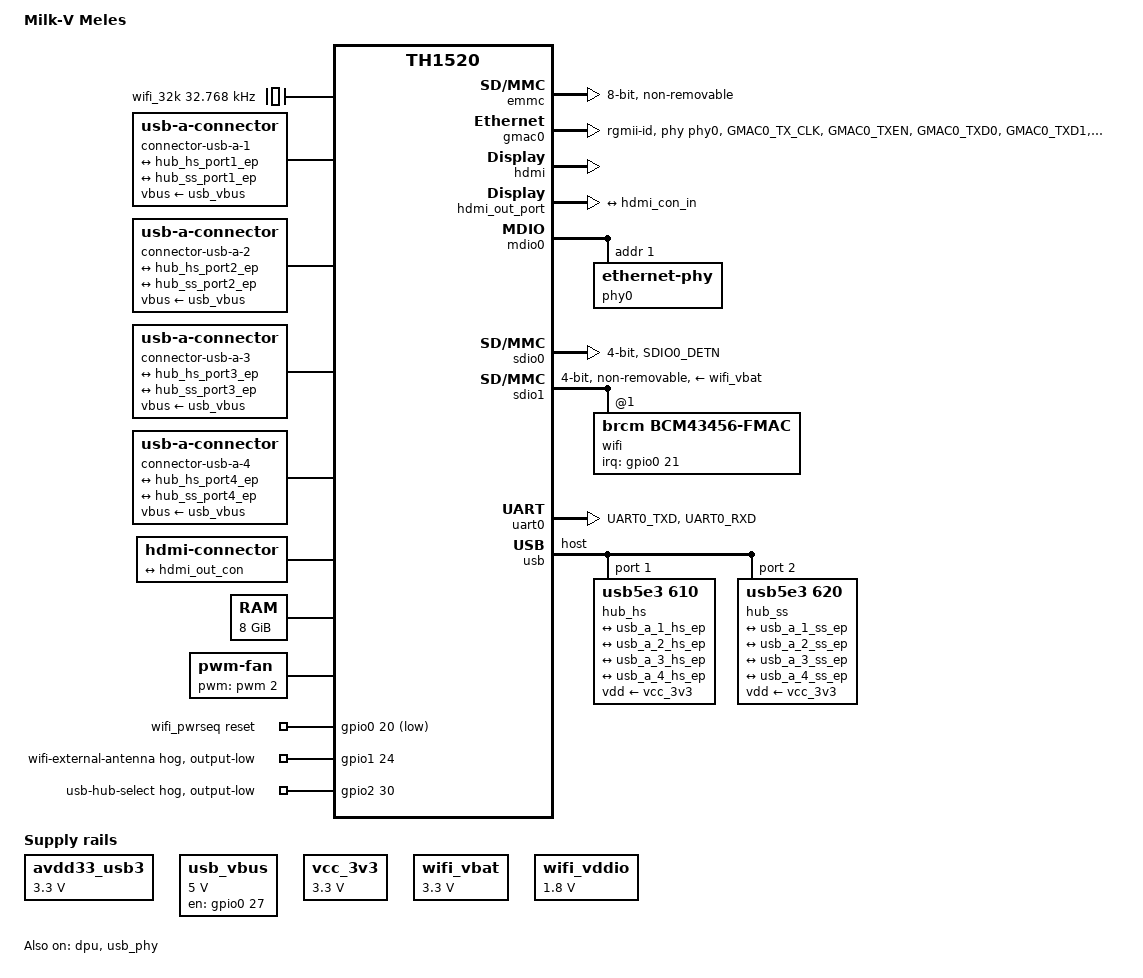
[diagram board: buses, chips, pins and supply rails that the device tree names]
// SPDX-License-Identifier: (GPL-2.0 OR MIT)
/*
 * Copyright (C) 2021-2022 Alibaba Group Holding Limited.
 * Copyright (C) 2026 Han Gao <gaohan@iscas.ac.cn>
 */

/dts-v1/;

#include "th1520.dtsi"
#include <dt-bindings/gpio/gpio.h>

/ {
	model = "Milk-V Meles";
	compatible = "milkv,meles", "thead,th1520";

	aliases {
		ethernet0 = &gmac0;
		gpio0 = &gpio0;
		gpio1 = &gpio1;
		gpio2 = &gpio2;
		gpio3 = &gpio3;
		gpio4 = &gpio4;
		gpio5 = &aogpio;
		mmc0 = &emmc;
		mmc1 = &sdio0;
		mmc2 = &sdio1;
		serial0 = &uart0;
	};

	chosen {
		stdout-path = "serial0:115200n8";
	};

	wifi_32k: clock-wifi-32k {
		compatible = "fixed-clock";
		#clock-cells = <0>;
		clock-frequency = <32768>;
		/* The module LPO input is supplied by PMIC_32K_OUT. */
	};

	connector-usb-a-1 {
		compatible = "usb-a-connector";
		vbus-supply = <&usb_vbus>;

		ports {
			#address-cells = <1>;
			#size-cells = <0>;

			port@0 {
				reg = <0>;

				usb_a_1_hs_ep: endpoint {
					remote-endpoint = <&hub_hs_port1_ep>;
				};
			};

			port@1 {
				reg = <1>;

				usb_a_1_ss_ep: endpoint {
					remote-endpoint = <&hub_ss_port1_ep>;
				};
			};
		};
	};

	connector-usb-a-2 {
		compatible = "usb-a-connector";
		vbus-supply = <&usb_vbus>;

		ports {
			#address-cells = <1>;
			#size-cells = <0>;

			port@0 {
				reg = <0>;

				usb_a_2_hs_ep: endpoint {
					remote-endpoint = <&hub_hs_port2_ep>;
				};
			};

			port@1 {
				reg = <1>;

				usb_a_2_ss_ep: endpoint {
					remote-endpoint = <&hub_ss_port2_ep>;
				};
			};
		};
	};

	connector-usb-a-3 {
		compatible = "usb-a-connector";
		vbus-supply = <&usb_vbus>;

		ports {
			#address-cells = <1>;
			#size-cells = <0>;

			port@0 {
				reg = <0>;

				usb_a_3_hs_ep: endpoint {
					remote-endpoint = <&hub_hs_port3_ep>;
				};
			};

			port@1 {
				reg = <1>;

				usb_a_3_ss_ep: endpoint {
					remote-endpoint = <&hub_ss_port3_ep>;
				};
			};
		};
	};

	connector-usb-a-4 {
		compatible = "usb-a-connector";
		vbus-supply = <&usb_vbus>;

		ports {
			#address-cells = <1>;
			#size-cells = <0>;

			port@0 {
				reg = <0>;

				usb_a_4_hs_ep: endpoint {
					remote-endpoint = <&hub_hs_port4_ep>;
				};
			};

			port@1 {
				reg = <1>;

				usb_a_4_ss_ep: endpoint {
					remote-endpoint = <&hub_ss_port4_ep>;
				};
			};
		};
	};

	hdmi-connector {
		compatible = "hdmi-connector";
		type = "a";

		port {
			hdmi_con_in: endpoint {
				remote-endpoint = <&hdmi_out_con>;
			};
		};
	};

	memory@0 {
		device_type = "memory";
		reg = <0x0 0x0 0x2 0x0>;
	};

	fan: pwm-fan {
		compatible = "pwm-fan";
		pinctrl-names = "default";
		pinctrl-0 = <&fan_pins>;
		pwms = <&pwm 2 10000000 0>;
		cooling-levels = <0 64 192 255>;
		#cooling-cells = <2>;
	};

	/* AVDD33_USB3 is supplied by the always-on DA9063 LDO9 rail. */
	avdd33_usb3: regulator-avdd33-usb3 {
		compatible = "regulator-fixed";
		regulator-name = "AVDD33_USB3";
		regulator-min-microvolt = <3300000>;
		regulator-max-microvolt = <3300000>;
		regulator-always-on;
	};

	usb_vbus: regulator-usb-vbus {
		/* U26 switches connector VBUS, not the GL3523 core supplies. */
		compatible = "regulator-fixed";
		regulator-name = "USB_VBUS";
		regulator-min-microvolt = <5000000>;
		regulator-max-microvolt = <5000000>;
		gpio = <&gpio0 27 GPIO_ACTIVE_HIGH>;
		enable-active-high;
		pinctrl-names = "default";
		pinctrl-0 = <&usb_vbus_pins>;
		/* Adopt the firmware's high enable level without a low pulse. */
		regulator-boot-on;
		regulator-always-on;
	};

	/* GL3523 core power; independent of the connector VBUS switch. */
	vcc_3v3: regulator-vcc-3v3 {
		compatible = "regulator-fixed";
		regulator-name = "VCC_3V3";
		regulator-min-microvolt = <3300000>;
		regulator-max-microvolt = <3300000>;
		regulator-boot-on;
		regulator-always-on;
	};

	wifi_vbat: regulator-wifi-vbat {
		compatible = "regulator-fixed";
		regulator-name = "WIFI_3V3";
		regulator-min-microvolt = <3300000>;
		regulator-max-microvolt = <3300000>;
		regulator-always-on;
	};

	wifi_vddio: regulator-wifi-vddio {
		compatible = "regulator-fixed";
		regulator-name = "WIFI_VDDIO";
		regulator-min-microvolt = <1800000>;
		regulator-max-microvolt = <1800000>;
		regulator-always-on;
	};

	wifi_pwrseq: wifi-pwrseq {
		compatible = "mmc-pwrseq-simple";
		pinctrl-names = "default";
		pinctrl-0 = <&wifi_enable_pins>;
		reset-gpios = <&gpio0 20 GPIO_ACTIVE_LOW>;
		post-power-on-delay-ms = <50>;
	};
};

/* Names follow the 40-pin header signal labels. */
&aogpio {
	gpio-line-names = "", "", "", "", "", "", "", "AOGPIO_7",
			  "AOGPIO_8", "", "AOGPIO_10", "AOGPIO_11";
};

&dpu {
	status = "okay";
};

&emmc {
	bus-width = <8>;
	max-frequency = <52000000>;
	cap-mmc-highspeed;
	mmc-ddr-1_8v;
	non-removable;
	no-sdio;
	no-sd;

	status = "okay";
};

&gmac0 {
	pinctrl-names = "default";
	pinctrl-0 = <&gmac0_pins>, <&mdio0_pins>;
	phy-handle = <&phy0>;
	phy-mode = "rgmii-id";

	status = "okay";
};

&gpio0 {
	gpio-line-names = "", "", "", "", "", "", "", "", "GPIO0_8",
			  "GPIO0_9", "GPIO0_10", "GPIO0_11", "", "", "",
			  "", "GPIO0_16", "GPIO0_17";
};

&gpio1 {
	/* GPIO1_24 low selects the external antenna through U39. */
	wifi-antenna-select-hog {
		gpio-hog;
		gpios = <24 GPIO_ACTIVE_HIGH>;
		output-low;
		line-name = "wifi-external-antenna";
	};
};

&gpio2 {
	gpio-line-names = "GPIO2_0", "GPIO2_1", "", "", "", "", "", "",
			  "", "", "", "GPIO2_11", "GPIO2_12", "",
			  "GPIO2_14", "GPIO2_15", "GPIO2_16", "GPIO2_17",
			  "", "", "", "", "GPIO2_22", "GPIO2_23",
			  "GPIO2_24", "GPIO2_25", "", "", "", "", "",
			  "GPIO2_31";

	/* Vendor wiring, verified on Meles V1.3: low selects the GL3523. */
	usb-hub-select-hog {
		gpio-hog;
		gpios = <30 GPIO_ACTIVE_HIGH>;
		output-low;
		line-name = "usb-hub-select";
	};
};

&gpio3 {
	gpio-line-names = "GPIO3_0", "GPIO3_1", "GPIO3_2", "GPIO3_3";
};

&hdmi {
	status = "okay";
};

&hdmi_out_port {
	hdmi_out_con: endpoint {
		remote-endpoint = <&hdmi_con_in>;
	};
};

&mdio0 {
	phy0: ethernet-phy@1 {
		reg = <1>;
	};
};

&osc {
	clock-frequency = <24000000>;
};

&osc_32k {
	clock-frequency = <32768>;
};

&padctrl0_apsys {
	fan_pins: fan-0 {
		pwm2-pins {
			pins = "QSPI0_CSN1";
			function = "pwm";
			bias-disable;
			drive-strength = <25>;
			input-disable;
			input-schmitt-disable;
			slew-rate = <0>;
		};
	};

	gmac0_pins: gmac0-0 {
		tx-pins {
			pins = "GMAC0_TX_CLK",
			       "GMAC0_TXEN",
			       "GMAC0_TXD0",
			       "GMAC0_TXD1",
			       "GMAC0_TXD2",
			       "GMAC0_TXD3";
			function = "gmac0";
			bias-disable;
			drive-strength = <25>;
			input-disable;
			input-schmitt-disable;
			slew-rate = <0>;
		};

		rx-pins {
			pins = "GMAC0_RX_CLK",
			       "GMAC0_RXDV",
			       "GMAC0_RXD0",
			       "GMAC0_RXD1",
			       "GMAC0_RXD2",
			       "GMAC0_RXD3";
			function = "gmac0";
			bias-disable;
			drive-strength = <1>;
			input-enable;
			input-schmitt-disable;
			slew-rate = <0>;
		};
	};

	mdio0_pins: mdio0-0 {
		mdc-pins {
			pins = "GMAC0_MDC";
			function = "gmac0";
			bias-disable;
			drive-strength = <13>;
			input-disable;
			input-schmitt-disable;
			slew-rate = <0>;
		};

		mdio-pins {
			pins = "GMAC0_MDIO";
			function = "gmac0";
			bias-disable;
			drive-strength = <13>;
			input-enable;
			input-schmitt-enable;
			slew-rate = <0>;
		};
	};

	sdio0_pins: sdio0-0 {
		detn-pins {
			pins = "SDIO0_DETN";
			function = "sdio";
			bias-disable; /* external pull-up */
			drive-strength = <1>;
			input-enable;
			input-schmitt-enable;
			slew-rate = <0>;
		};
	};

	uart0_pins: uart0-0 {
		tx-pins {
			pins = "UART0_TXD";
			function = "uart";
			bias-disable;
			drive-strength = <3>;
			input-disable;
			input-schmitt-disable;
			slew-rate = <0>;
		};

		rx-pins {
			pins = "UART0_RXD";
			function = "uart";
			bias-disable;
			drive-strength = <1>;
			input-enable;
			input-schmitt-enable;
			slew-rate = <0>;
		};
	};
};

&padctrl1_apsys {
	usb_vbus_pins: usb-vbus-0 {
		usb-pins {
			pins = "GPIO0_27";
			/* The regulator's GPIO request selects the pin mux. */
			bias-disable;
			drive-strength = <7>;
			input-disable;
		};
	};

	wifi_enable_pins: wifi-enable-0 {
		gpio-pins {
			pins = "GPIO0_20";
			bias-disable;
			drive-strength = <7>;
			input-disable;
		};
	};

	wifi_host_wake_pins: wifi-host-wake-0 {
		gpio-pins {
			pins = "GPIO0_21";
			function = "gpio";
			bias-disable;
			input-enable;
			input-schmitt-enable;
		};
	};
};

&sdio0 {
	pinctrl-names = "default";
	pinctrl-0 = <&sdio0_pins>;
	bus-width = <4>;
	max-frequency = <50000000>;
	cap-sd-highspeed;
	no-1-8-v;
	disable-wp;
	no-sdio;

	status = "okay";
};

&sdio1 {
	bus-width = <4>;
	max-frequency = <198000000>;
	cap-sd-highspeed;
	cap-sdio-irq;
	non-removable;
	no-sd;
	no-mmc;
	keep-power-in-suspend;
	vmmc-supply = <&wifi_vbat>;
	vqmmc-supply = <&wifi_vddio>;
	mmc-pwrseq = <&wifi_pwrseq>;
	#address-cells = <1>;
	#size-cells = <0>;

	status = "okay";

	wifi@1 {
		compatible = "brcm,bcm43456-fmac", "brcm,bcm4329-fmac";
		reg = <1>;
		clocks = <&wifi_32k>;
		clock-names = "lpo";
		pinctrl-names = "default";
		pinctrl-0 = <&wifi_host_wake_pins>;
		interrupt-parent = <&gpio0>;
		interrupts = <21 IRQ_TYPE_LEVEL_HIGH>;
		interrupt-names = "host-wake";
	};
};

&uart0 {
	pinctrl-names = "default";
	pinctrl-0 = <&uart0_pins>;

	status = "okay";
};

/* RESETn is an RC circuit; neither companion hub has a reset GPIO. */
&usb {
	dr_mode = "host";
	snps,dis_u2_susphy_quirk;
	#address-cells = <1>;
	#size-cells = <0>;

	status = "okay";

	hub_hs: hub@1 {
		compatible = "usb5e3,610";
		reg = <1>;
		peer-hub = <&hub_ss>;
		vdd-supply = <&vcc_3v3>;

		ports {
			#address-cells = <1>;
			#size-cells = <0>;

			port@1 {
				reg = <1>;

				hub_hs_port1_ep: endpoint {
					remote-endpoint = <&usb_a_1_hs_ep>;
				};
			};

			port@2 {
				reg = <2>;

				hub_hs_port2_ep: endpoint {
					remote-endpoint = <&usb_a_2_hs_ep>;
				};
			};

			port@3 {
				reg = <3>;

				hub_hs_port3_ep: endpoint {
					remote-endpoint = <&usb_a_3_hs_ep>;
				};
			};

			port@4 {
				reg = <4>;

				hub_hs_port4_ep: endpoint {
					remote-endpoint = <&usb_a_4_hs_ep>;
				};
			};
		};
	};

	hub_ss: hub@2 {
		compatible = "usb5e3,620";
		reg = <2>;
		peer-hub = <&hub_hs>;
		vdd-supply = <&vcc_3v3>;

		ports {
			#address-cells = <1>;
			#size-cells = <0>;

			port@1 {
				reg = <1>;

				hub_ss_port1_ep: endpoint {
					remote-endpoint = <&usb_a_1_ss_ep>;
				};
			};

			port@2 {
				reg = <2>;

				hub_ss_port2_ep: endpoint {
					remote-endpoint = <&usb_a_2_ss_ep>;
				};
			};

			port@3 {
				reg = <3>;

				hub_ss_port3_ep: endpoint {
					remote-endpoint = <&usb_a_3_ss_ep>;
				};
			};

			port@4 {
				reg = <4>;

				hub_ss_port4_ep: endpoint {
					remote-endpoint = <&usb_a_4_ss_ep>;
				};
			};
		};
	};
};

&usb_phy {
	avdd33-usb3-supply = <&avdd33_usb3>;

	status = "okay";
};
